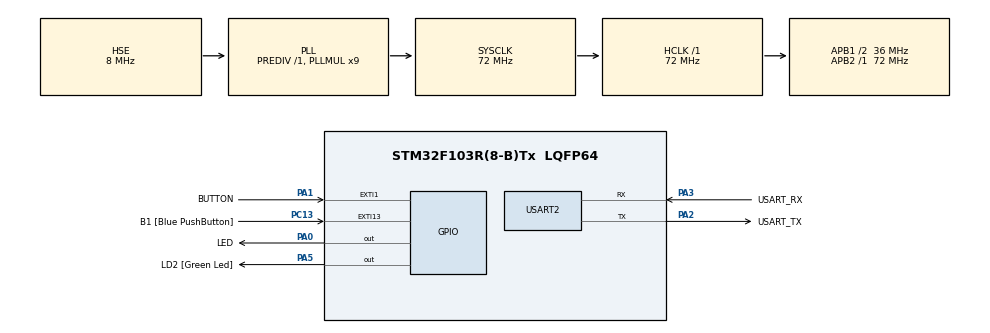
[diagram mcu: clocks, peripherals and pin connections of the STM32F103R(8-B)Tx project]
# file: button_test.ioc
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Mcu.Family=STM32F1
Mcu.Name=STM32F103R(8-B)Tx
Mcu.Package=LQFP64
NVIC.EXTI1_IRQn=true\:0\:0\:false\:false\:true\:true\:true\:true
NVIC.PriorityGroup=NVIC_PRIORITYGROUP_4
PA0-WKUP.GPIO_Label=LED
PA0-WKUP.Signal=GPIO_Output
PA1.GPIO_Label=BUTTON
PA1.GPIO_ModeDefaultEXTI=GPIO_MODE_IT_FALLING
PA1.GPIO_PuPd=GPIO_PULLUP
PA1.Signal=GPXTI1
PA13.GPIO_Label=TMS
PA13.Mode=Serial_Wire
PA13.Signal=SYS_JTMS-SWDIO
PA14.GPIO_Label=TCK
PA14.Mode=Serial_Wire
PA14.Signal=SYS_JTCK-SWCLK
PA2.GPIO_Label=USART_TX
PA2.GPIO_Mode=GPIO_MODE_AF_PP
PA2.GPIO_PuPd=GPIO_NOPULL
PA2.GPIO_Speed=GPIO_SPEED_FREQ_LOW
PA2.Mode=Asynchronous
PA2.Signal=USART2_TX
PA3.GPIO_Label=USART_RX
PA3.GPIO_Mode=GPIO_MODE_AF_PP
PA3.GPIO_PuPd=GPIO_NOPULL
PA3.GPIO_Speed=GPIO_SPEED_FREQ_LOW
PA3.Mode=Asynchronous
PA3.Signal=USART2_RX
PA5.GPIO_Label=LD2 [Green Led]
PA5.GPIO_ModeDefaultOutputPP=GPIO_MODE_OUTPUT_PP
PA5.GPIO_PuPd=GPIO_NOPULL
PA5.GPIO_Speed=GPIO_SPEED_FREQ_LOW
PA5.Signal=GPIO_Output
PB3.GPIO_Label=SWO
PB3.Signal=SYS_JTDO-TRACESWO
PC13-TAMPER-RTC.GPIO_Label=B1 [Blue PushButton]
PC13-TAMPER-RTC.GPIO_ModeDefaultEXTI=GPIO_MODE_IT_FALLING
PC13-TAMPER-RTC.GPIO_PuPd=GPIO_NOPULL
PC13-TAMPER-RTC.Signal=GPXTI13
PC14-OSC32_IN.Signal=RCC_OSC32_IN
PC15-OSC32_OUT.Signal=RCC_OSC32_OUT
PD0-OSC_IN.Mode=HSE-External-Clock-Source
PD0-OSC_IN.Signal=RCC_OSC_IN
PD1-OSC_OUT.Mode=HSE-External-Clock-Source
PD1-OSC_OUT.Signal=RCC_OSC_OUT
ProjectManager.HeapSize=0x200
ProjectManager.StackSize=0x400
ProjectManager.TargetToolchain=STM32CubeIDE
RCC.AHBFreq_Value=72000000
RCC.APB1CLKDivider=RCC_HCLK_DIV2
RCC.APB1Freq_Value=36000000
RCC.APB1TimFreq_Value=72000000
RCC.APB2Freq_Value=72000000
RCC.APB2TimFreq_Value=72000000
RCC.HCLKFreq_Value=72000000
RCC.PLLMUL=RCC_PLL_MUL9
RCC.PLLSourceVirtual=RCC_PLLSOURCE_HSE
RCC.RTCClockSelection=RCC_RTCCLKSOURCE_LSE
RCC.SYSCLKFreq_VALUE=72000000
RCC.SYSCLKSource=RCC_SYSCLKSOURCE_PLLCLK
RCC.USBFreq_Value=72000000
USART2.VirtualMode=VM_ASYNC
board=NUCLEO-F103RB

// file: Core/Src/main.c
/* USER CODE BEGIN Header */
/**
  ******************************************************************************
  * @file           : main.c
  * @brief          : Main program body
  ******************************************************************************
  * @attention
  *
  * Copyright (c) 2026 STMicroelectronics.
  * All rights reserved.
  *
  * This software is licensed under terms that can be found in the LICENSE file
  * in the root directory of this software component.
  * If no LICENSE file comes with this software, it is provided AS-IS.
  *
  ******************************************************************************
  */
/* USER CODE END Header */
#include "main.h"

UART_HandleTypeDef huart2;

void SystemClock_Config(void);
static void MX_GPIO_Init(void);
static void MX_USART2_UART_Init(void);

/* USER CODE BEGIN 0 */
int EXTI1_Triggered = 0;
int button_state = 0; // 0 = not pushed
uint32_t button_push_detected_time = 0;
uint32_t last_trigger_time = 0;

/* USER CODE END 0 */

int main(void)
{

  /* MCU Configuration--------------------------------------------------------*/

  /* Reset of all peripherals, Initializes the Flash interface and the Systick. */
  HAL_Init();

  /* Configure the system clock */
  SystemClock_Config();

  /* Initialize all configured peripherals */
  MX_GPIO_Init();
  MX_USART2_UART_Init();

  /* Infinite loop */
  while (1)
  {

    /* USER CODE BEGIN 3 */

	if (handle_button_trigger())
	    {
	      HAL_GPIO_TogglePin(GPIOA, LED_Pin);
		  EXTI1_Triggered = 0;
	    }

	    //      if ((current_time - last_trigger_time) > 200) { // debounce
	    //          if (!HAL_GPIO_ReadPin(GPIOA, BUTTON_Pin)) { // falling edge
	    //
	    //          }
	    //    	  last_trigger_time = current_time;
	    //      }

  }
  /* USER CODE END 3 */
}

int  handle_button_trigger() {
	if (!EXTI1_Triggered) {
		return 0;
	}

	uint32_t current_time = HAL_GetTick();

	if (!button_state) { // first push detected
		button_push_detected_time = current_time;
		button_state = 1;
		return 0;
	}

	// if the button is still pushed after 10 ticks, button is stable
	uint32_t time_diff = current_time - button_push_detected_time;
	if (time_diff > 10 && !HAL_GPIO_ReadPin(GPIOA, BUTTON_Pin)) {
		button_state = 0;
		return 1;
	}

	return 0;
}

void SystemClock_Config(void)
{
  RCC_OscInitTypeDef RCC_OscInitStruct = {0};
  RCC_ClkInitTypeDef RCC_ClkInitStruct = {0};

  /** Initializes the RCC Oscillators according to the specified parameters
  * in the RCC_OscInitTypeDef structure.
  */
  RCC_OscInitStruct.OscillatorType = RCC_OSCILLATORTYPE_HSE;
  RCC_OscInitStruct.HSEState = RCC_HSE_BYPASS;
  RCC_OscInitStruct.HSEPredivValue = RCC_HSE_PREDIV_DIV1;
  RCC_OscInitStruct.HSIState = RCC_HSI_ON;
  RCC_OscInitStruct.PLL.PLLState = RCC_PLL_ON;
  RCC_OscInitStruct.PLL.PLLSource = RCC_PLLSOURCE_HSE;
  RCC_OscInitStruct.PLL.PLLMUL = RCC_PLL_MUL9;
  if (HAL_RCC_OscConfig(&RCC_OscInitStruct) != HAL_OK)
  {
    Error_Handler();
  }

  /** Initializes the CPU, AHB and APB buses clocks
  */
  RCC_ClkInitStruct.ClockType = RCC_CLOCKTYPE_HCLK|RCC_CLOCKTYPE_SYSCLK
                              |RCC_CLOCKTYPE_PCLK1|RCC_CLOCKTYPE_PCLK2;
  RCC_ClkInitStruct.SYSCLKSource = RCC_SYSCLKSOURCE_PLLCLK;
  RCC_ClkInitStruct.AHBCLKDivider = RCC_SYSCLK_DIV1;
  RCC_ClkInitStruct.APB1CLKDivider = RCC_HCLK_DIV2;
  RCC_ClkInitStruct.APB2CLKDivider = RCC_HCLK_DIV1;

  if (HAL_RCC_ClockConfig(&RCC_ClkInitStruct, FLASH_LATENCY_2) != HAL_OK)
  {
    Error_Handler();
  }
}

static void MX_USART2_UART_Init(void)
{

  huart2.Instance = USART2;
  huart2.Init.BaudRate = 115200;
  huart2.Init.WordLength = UART_WORDLENGTH_8B;
  huart2.Init.StopBits = UART_STOPBITS_1;
  huart2.Init.Parity = UART_PARITY_NONE;
  huart2.Init.Mode = UART_MODE_TX_RX;
  huart2.Init.HwFlowCtl = UART_HWCONTROL_NONE;
  huart2.Init.OverSampling = UART_OVERSAMPLING_16;
  if (HAL_UART_Init(&huart2) != HAL_OK)
  {
    Error_Handler();
  }

}

static void MX_GPIO_Init(void)
{
  GPIO_InitTypeDef GPIO_InitStruct = {0};

  /* GPIO Ports Clock Enable */
  __HAL_RCC_GPIOC_CLK_ENABLE();
  __HAL_RCC_GPIOD_CLK_ENABLE();
  __HAL_RCC_GPIOA_CLK_ENABLE();
  __HAL_RCC_GPIOB_CLK_ENABLE();

  /*Configure GPIO pin Output Level */
  HAL_GPIO_WritePin(GPIOA, LED_Pin|LD2_Pin, GPIO_PIN_RESET);

  /*Configure GPIO pin : B1_Pin */
  GPIO_InitStruct.Pin = B1_Pin;
  GPIO_InitStruct.Mode = GPIO_MODE_IT_FALLING;
  GPIO_InitStruct.Pull = GPIO_NOPULL;
  HAL_GPIO_Init(B1_GPIO_Port, &GPIO_InitStruct);

  /*Configure GPIO pins : LED_Pin LD2_Pin */
  GPIO_InitStruct.Pin = LED_Pin|LD2_Pin;
  GPIO_InitStruct.Mode = GPIO_MODE_OUTPUT_PP;
  GPIO_InitStruct.Pull = GPIO_NOPULL;
  GPIO_InitStruct.Speed = GPIO_SPEED_FREQ_LOW;
  HAL_GPIO_Init(GPIOA, &GPIO_InitStruct);

  /*Configure GPIO pin : BUTTON_Pin */
  GPIO_InitStruct.Pin = BUTTON_Pin;
  GPIO_InitStruct.Mode = GPIO_MODE_IT_FALLING;
  GPIO_InitStruct.Pull = GPIO_PULLUP;
  HAL_GPIO_Init(BUTTON_GPIO_Port, &GPIO_InitStruct);

  /* EXTI interrupt init*/
  HAL_NVIC_SetPriority(EXTI1_IRQn, 0, 0);
  HAL_NVIC_EnableIRQ(EXTI1_IRQn);

}

/* USER CODE BEGIN 4 */

void HAL_GPIO_EXTI_Callback(uint16_t GPIO_Pin)
{
//  static uint32_t last_trigger_time = 0;
  if(GPIO_Pin == GPIO_PIN_1) {
//      if ((current_time - last_trigger_time) < 50) { // debounce

	  if (HAL_GPIO_ReadPin(GPIOA, BUTTON_Pin)) {
		  EXTI1_Triggered = 0;
		  return;
	  }
	  uint32_t current_time = HAL_GetTick();
	  EXTI1_Triggered = 1;
	  last_trigger_time = current_time;

//      uint32_t current_time = HAL_GetTick();
//      if ((current_time - last_trigger_time) > 50) { // debounce
//    	  EXTI1_Triggered = 1;
//    	  last_trigger_time = current_time;
//      }
  }
}

/* USER CODE END 4 */

void Error_Handler(void)
{
  __disable_irq();
  while (1)
  {
  }
}
